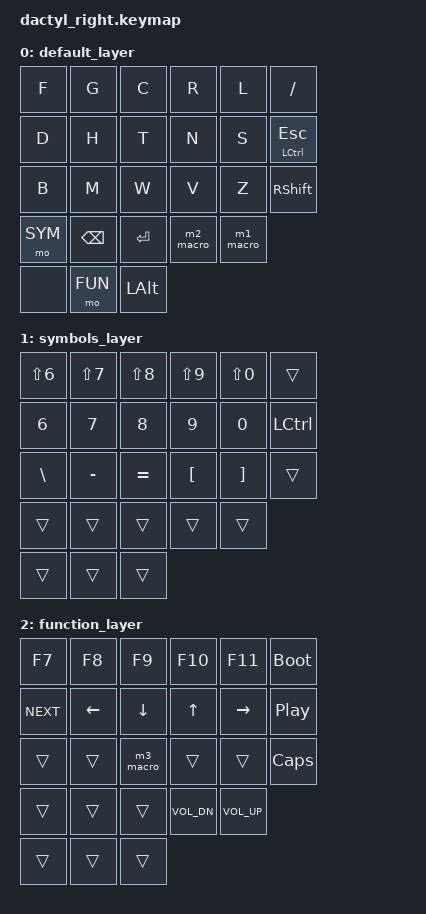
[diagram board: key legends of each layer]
#include <behaviors.dtsi>
#include <dt-bindings/zmk/keys.h>
#include <dt-bindings/zmk/bt.h>

#define DEF 0
#define SYM 1
#define FUN 2

&mt {
    tapping-term-ms = <200>;
};

/ {
    behaviors {
        m1_macro: macro_ctrl_l {
            compatible = "zmk,behavior-macro";
            #binding-cells = <0>;
            bindings
                = <&macro_press &kp LCTRL>
                , <&macro_tap &kp L>
                , <&macro_release &kp LCTRL>
                ;
        };

        m2_macro: macro_ctrl_h {
            compatible = "zmk,behavior-macro";
            #binding-cells = <0>;
            bindings
                = <&macro_press &kp LCTRL>
                , <&macro_tap &kp H>
                , <&macro_release &kp LCTRL>
                ;
        };

        m3_macro: macro_sleep {
            compatible = "zmk,behavior-macro";
            #binding-cells = <0>;
            bindings
                = <&macro_press &kp LALT>
                , <&macro_press &kp LSHIFT>
                , <&macro_tap &kp Z>
                , <&macro_release &kp LALT>
                , <&macro_release &kp LSHIFT>
                ;
        };
    };

    keymap {
        compatible = "zmk,keymap";

        default_layer {
            //            C1          C2          C3          C4          C5          C6
            bindings = <
            /* R1 */    &kp F       &kp G       &kp C       &kp R       &kp L       &kp SLASH
            /* R2 */    &kp D       &kp H       &kp T       &kp N       &kp S       &mt LCTRL ESC
            /* R3 */    &kp B       &kp M       &kp W       &kp V       &kp Z       &kp RSHIFT
            /* R4 */    &mo SYM     &kp BSPC    &kp RET     &m2_macro       &m1_macro
            /* R5 */    &none       &mo FUN     &kp LALT
                        >;
        };

        symbols_layer {
            //            C1          C2          C3          C4          C5          C6
            bindings = <
            /* R1 */    &kp LS(N6)  &kp LS(N7)  &kp LS(N8)  &kp LS(N9)  &kp LS(N0)  &trans
            /* R2 */    &kp N6      &kp N7      &kp N8      &kp N9      &kp N0      &kp LCTRL
            /* R3 */    &kp BSLH    &kp MINUS   &kp EQUAL   &kp LBKT    &kp RBKT    &trans
            /* R4 */    &trans      &trans      &trans      &trans      &trans
            /* R5 */    &trans      &trans      &trans
                        >;
        };

        function_layer {
            //            C1          C2          C3          C4          C5          C6
            bindings = <
            /* R1 */    &kp F7      &kp F8      &kp F9      &kp F10     &kp F11     &bootloader
            /* R2 */    &kp C_NEXT  &kp LEFT    &kp DOWN    &kp UP      &kp RIGHT   &kp C_PP
            /* R3 */    &trans      &trans      &m3_macro   &trans      &trans      &kp CAPS
            /* R4 */    &trans      &trans      &trans      &kp C_VOL_DN  &kp C_VOL_UP
            /* R5 */    &trans      &trans      &trans
                        >;
        };

    };
};
